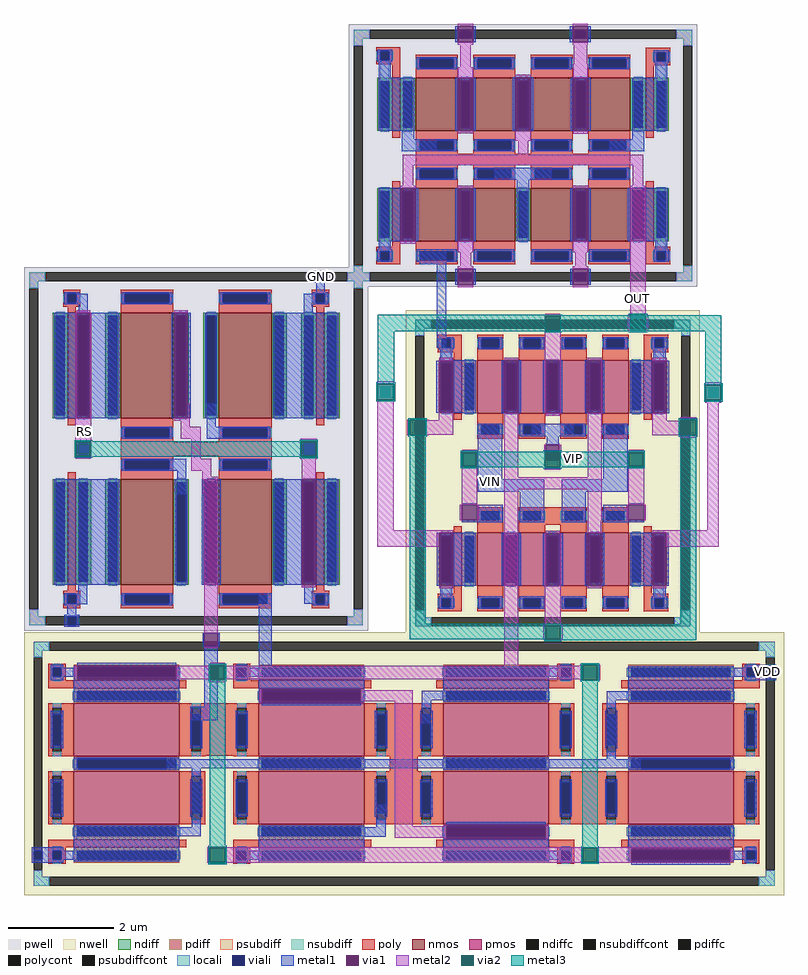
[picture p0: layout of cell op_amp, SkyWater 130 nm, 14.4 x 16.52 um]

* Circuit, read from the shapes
.subckt op_amp OUT VIN VIP VDD RS GND
XM1 GND GND GND GND sky130_fd_pr__nfet_01v8 w=2 l=0.15 m=2
XM2 RS RS RS GND sky130_fd_pr__nfet_01v8 w=2 l=0.15 m=2
XM3 pmos_cs_0/D1 pmos_cs_0/D1 GND GND sky130_fd_pr__nfet_01v8 w=2 l=1 m=2
XM4 pmos_cs_0/D2 pmos_cs_0/D1 RS GND sky130_fd_pr__nfet_01v8 w=2 l=1 m=2
XM5 OUT OUT OUT GND sky130_fd_pr__nfet_01v8 w=1 l=0.15 m=2
XM6 pmos_diff_amp_0/D6 pmos_diff_amp_0/D6 pmos_diff_amp_0/D6 GND sky130_fd_pr__nfet_01v8 w=1 l=0.15 m=2
XM7 GND pmos_diff_amp_0/D6 OUT GND sky130_fd_pr__nfet_01v8 w=1 l=0.8 m=4
XM8 GND pmos_diff_amp_0/D6 pmos_diff_amp_0/D6 GND sky130_fd_pr__nfet_01v8 w=1 l=0.8 m=4
XM9 VDD VDD VDD VDD sky130_fd_pr__pfet_01v8 w=2 l=0.15 m=2
XM10 VDD VDD VDD VDD sky130_fd_pr__pfet_01v8 w=2 l=1 m=2
XM11 pmos_cs_0/D5 pmos_cs_0/D2 VDD VDD sky130_fd_pr__pfet_01v8 w=2 l=1 m=2
XM12 pmos_cs_0/D5 pmos_cs_0/D5 pmos_cs_0/D5 VDD sky130_fd_pr__pfet_01v8 w=2 l=0.15 m=2
XM13 pmos_cs_0/D2 pmos_cs_0/D2 pmos_cs_0/D2 VDD sky130_fd_pr__pfet_01v8 w=2 l=0.15 m=2
XM14 VDD pmos_cs_0/D2 pmos_cs_0/D2 VDD sky130_fd_pr__pfet_01v8 w=2 l=1 m=2
XM15 pmos_cs_0/D1 pmos_cs_0/D2 VDD VDD sky130_fd_pr__pfet_01v8 w=2 l=1 m=2
XM16 pmos_cs_0/D1 pmos_cs_0/D1 pmos_cs_0/D1 VDD sky130_fd_pr__pfet_01v8 w=2 l=0.15 m=2
XM17 OUT OUT OUT VDD sky130_fd_pr__pfet_01v8 w=1 l=0.15 m=2
XM18 pmos_diff_amp_0/D6 pmos_diff_amp_0/D6 pmos_diff_amp_0/D6 VDD sky130_fd_pr__pfet_01v8 w=1 l=0.15 m=2
XM19 pmos_cs_0/D5 VIP OUT VDD sky130_fd_pr__pfet_01v8 w=1 l=0.5 m=4
XM20 pmos_cs_0/D5 VIN pmos_diff_amp_0/D6 VDD sky130_fd_pr__pfet_01v8 w=1 l=0.5 m=4
.ends

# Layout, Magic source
magic
tech sky130A
magscale 1 2
<< metal1 >>
rect 1500 2443 1592 2448
rect 1500 2392 1600 2443
rect 1104 2338 1146 2356
rect 1565 2075 1600 2392
rect 1734 1538 1792 1600
rect 677 942 683 994
rect 735 942 741 994
rect 683 716 735 942
rect 889 819 938 1145
rect 2794 826 2840 868
rect 630 664 735 716
<< via1 >>
rect 683 942 735 994
<< metal2 >>
rect 2298 2200 2356 2680
rect 2288 2140 2297 2200
rect 2357 2140 2366 2200
rect 208 1746 244 1780
rect 683 994 735 1577
rect 683 936 735 942
rect 1820 826 1872 1374
<< via2 >>
rect 2297 2140 2357 2200
<< metal3 >>
rect 2292 2200 2362 2205
rect 2292 2140 2297 2200
rect 2357 2140 2362 2200
rect 2292 2135 2362 2140
rect 2058 1638 2110 1668
use nmos_cs  nmos_cs_0
transform 1 0 308 0 -1 1665
box -308 -716 996 661
use nmos_diff_amp  nmos_diff_amp_0
transform 1 0 1426 0 1 2810
box -196 -506 1126 494
use pmos_cs  pmos_cs_0
transform 0 1 1489 1 0 176
box -176 -1489 822 1391
use pmos_diff_amp  pmos_diff_amp_0
transform 1 0 1623 0 1 1728
box -289 -764 1024 489
<< labels >>
flabel metal2 2326 2262 2326 2262 0 FreeSans 800 0 0 0 OUT
port 0 nsew
flabel metal1 1768 1568 1768 1568 0 FreeSans 800 0 0 0 VIN
port 1 nsew
flabel metal3 2082 1654 2082 1654 0 FreeSans 800 0 0 0 VIP
port 2 nsew
flabel metal1 2818 848 2818 848 0 FreeSans 800 0 0 0 VDD
port 3 nsew
flabel metal2 228 1758 228 1758 0 FreeSans 800 0 0 0 RS
port 4 nsew
flabel metal1 1126 2346 1126 2346 0 FreeSans 800 0 0 0 GND
port 5 nsew
<< end >>

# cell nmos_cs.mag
magic
tech sky130A
magscale 1 2
<< pwell >>
rect -308 -716 996 661
<< psubdiff >>
rect -288 607 -228 641
rect 916 607 976 641
rect -288 581 -254 607
rect 942 581 976 607
rect -288 -662 -254 -636
rect 942 -662 976 -636
rect -288 -696 -228 -662
rect 916 -696 976 -662
<< psubdiffcont >>
rect -228 607 916 641
rect -288 -636 -254 581
rect 942 -636 976 581
rect -228 -696 916 -662
<< poly >>
rect 58 -55 630 0
<< locali >>
rect -288 607 -228 641
rect 916 607 976 641
rect -288 581 -254 607
rect -288 -662 -254 -636
rect 942 581 976 607
rect 942 -662 976 -636
rect -288 -696 -228 -662
rect 916 -696 976 -662
<< viali >>
rect -144 607 -110 641
rect 799 -696 833 -662
<< metal1 >>
rect -156 641 -98 647
rect -156 607 -144 641
rect -110 607 -98 641
rect -156 601 -98 607
rect -144 560 -110 601
rect -102 488 -68 561
rect 754 488 788 560
rect -194 88 52 488
rect 272 56 306 144
rect 365 88 375 488
rect 427 88 437 488
rect 636 88 745 488
rect 797 88 882 488
rect 244 10 306 56
rect 384 -111 446 -65
rect -194 -543 -109 -143
rect -57 -543 52 -143
rect 251 -543 261 -143
rect 313 -543 323 -143
rect 384 -198 418 -111
rect 636 -543 882 -143
rect -100 -616 -66 -543
rect 753 -616 787 -543
rect 799 -656 832 -615
rect 787 -662 845 -656
rect 787 -696 799 -662
rect 833 -696 845 -662
rect 787 -702 845 -696
<< via1 >>
rect 375 88 427 488
rect 745 88 797 488
rect -109 -543 -57 -143
rect 261 -543 313 -143
<< metal2 >>
rect 375 488 427 498
rect 367 88 375 144
rect 367 78 427 88
rect 745 488 797 498
rect 367 56 401 78
rect 325 10 401 56
rect 745 12 797 88
rect -111 3 -55 10
rect -113 1 -53 3
rect -113 -55 -111 1
rect -55 -55 -53 1
rect -113 -143 -53 -55
rect 325 -65 362 10
rect 286 -111 362 -65
rect 741 3 801 12
rect 741 -66 801 -57
rect 286 -133 320 -111
rect -113 -543 -109 -143
rect -57 -543 -53 -143
rect 261 -143 320 -133
rect 313 -198 320 -143
rect -109 -553 -57 -543
rect 261 -553 313 -543
<< via2 >>
rect -111 -55 -55 1
rect 741 -57 801 3
<< metal3 >>
rect -116 3 -50 6
rect 736 3 806 8
rect -116 1 741 3
rect -116 -55 -111 1
rect -55 -55 741 1
rect -116 -57 741 -55
rect 801 -57 806 3
rect -116 -60 -50 -57
rect 736 -62 806 -57
use sky130_fd_pr__nfet_01v8_Q6XT6P  sky130_fd_pr__nfet_01v8_Q6XT6P_0
transform 1 0 344 0 1 -343
box -344 -288 344 288
use sky130_fd_pr__nfet_01v8_Q6XT6P  sky130_fd_pr__nfet_01v8_Q6XT6P_1
transform 1 0 344 0 1 288
box -344 -288 344 288
use sky130_fd_pr__nfet_01v8_SCJFGL  sky130_fd_pr__nfet_01v8_SCJFGL_0
transform 1 0 -127 0 1 -374
box -73 -257 73 257
use sky130_fd_pr__nfet_01v8_SCJFGL  sky130_fd_pr__nfet_01v8_SCJFGL_1
transform 1 0 815 0 1 -374
box -73 -257 73 257
use sky130_fd_pr__nfet_01v8_TCR5KT  sky130_fd_pr__nfet_01v8_TCR5KT_0
transform 1 0 -127 0 1 319
box -73 -257 73 257
use sky130_fd_pr__nfet_01v8_TCR5KT  sky130_fd_pr__nfet_01v8_TCR5KT_1
transform 1 0 815 0 1 319
box -73 -257 73 257
<< labels >>
flabel metal1 -30 318 -30 318 0 FreeSans 160 0 0 0 GND
port 0 nsew
flabel metal1 290 42 290 42 0 FreeSans 160 0 0 0 D3
port 1 nsew
flabel metal2 376 38 376 38 0 FreeSans 160 0 0 0 D4
port 2 nsew
flabel metal1 -34 -328 -34 -328 0 FreeSans 160 0 0 0 RS
port 3 nsew
<< end >>

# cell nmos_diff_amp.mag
magic
tech sky130A
magscale 1 2
<< pwell >>
rect -196 -503 1126 491
<< psubdiff >>
rect -176 436 -116 470
rect 1046 436 1106 470
rect -176 410 -142 436
rect 1072 410 1106 436
rect -176 -449 -142 -423
rect 1072 -449 1106 -423
rect -176 -483 -116 -449
rect 1046 -483 1106 -449
<< psubdiffcont >>
rect -116 436 1046 470
rect -176 -423 -142 410
rect 1072 -423 1106 410
rect -116 -483 1046 -449
<< poly >>
rect -92 389 0 405
rect -92 355 -76 389
rect -42 355 0 389
rect -92 339 0 355
rect -30 296 0 339
rect 930 386 1022 402
rect 930 352 972 386
rect 1006 352 1022 386
rect 930 336 1022 352
rect 930 302 960 336
rect 58 -42 872 1
rect -30 -352 0 -345
rect -92 -368 0 -352
rect -92 -402 -76 -368
rect -42 -402 0 -368
rect -92 -418 0 -402
rect 930 -352 960 -332
rect 930 -368 1022 -352
rect 930 -402 972 -368
rect 1006 -402 1022 -368
rect 930 -418 1022 -402
<< polycont >>
rect -76 355 -42 389
rect 972 352 1006 386
rect -76 -402 -42 -368
rect 972 -402 1006 -368
<< locali >>
rect -176 436 -116 470
rect 1046 436 1106 470
rect -176 410 -142 436
rect 1072 410 1106 436
rect -92 355 -76 389
rect -42 355 -26 389
rect -76 276 -42 355
rect 956 352 972 386
rect 1006 352 1022 386
rect 972 276 1006 352
rect -76 -368 -42 -318
rect 972 -368 1006 -318
rect -92 -402 -76 -368
rect -42 -402 -26 -368
rect 956 -402 972 -368
rect 1006 -402 1022 -368
rect -176 -449 -142 -423
rect 1072 -449 1106 -423
rect -176 -483 -116 -449
rect 1046 -483 1106 -449
<< viali >>
rect 230 436 264 470
rect 665 436 699 470
rect -76 355 -42 389
rect 972 352 1006 386
rect -76 -402 -42 -368
rect 972 -402 1006 -368
rect 230 -483 264 -449
rect 666 -483 700 -449
<< metal1 >>
rect 208 424 218 484
rect 276 424 286 484
rect 643 423 653 483
rect 711 423 721 483
rect -88 389 -30 395
rect -88 355 -76 389
rect -42 355 -30 389
rect -88 349 -30 355
rect 960 386 1018 392
rect 960 352 972 386
rect 1006 352 1018 386
rect -82 289 -36 349
rect 960 346 1018 352
rect -82 88 52 289
rect 208 88 218 289
rect 276 88 286 289
rect 426 88 436 290
rect 494 88 504 290
rect 6 56 52 88
rect 645 87 655 289
rect 711 87 721 289
rect 967 288 1012 346
rect 878 88 1012 288
rect 878 56 924 88
rect 6 10 138 56
rect 792 10 924 56
rect 356 -98 574 -52
rect -82 -130 53 -129
rect -82 -330 0 -130
rect 58 -330 68 -130
rect -82 -362 -36 -330
rect 208 -331 218 -130
rect 276 -331 286 -130
rect 442 -330 488 -98
rect 878 -130 1013 -129
rect 644 -331 654 -130
rect 712 -331 722 -130
rect 862 -330 872 -130
rect 930 -330 1013 -130
rect 966 -362 1012 -330
rect -88 -368 -30 -362
rect -88 -402 -76 -368
rect -42 -402 -30 -368
rect -88 -408 -30 -402
rect 960 -368 1018 -362
rect 960 -402 972 -368
rect 1006 -402 1018 -368
rect 960 -408 1018 -402
rect 208 -496 218 -436
rect 276 -496 286 -436
rect 644 -496 654 -436
rect 712 -496 722 -436
<< via1 >>
rect 218 470 276 484
rect 218 436 230 470
rect 230 436 264 470
rect 264 436 276 470
rect 218 424 276 436
rect 653 470 711 483
rect 653 436 665 470
rect 665 436 699 470
rect 699 436 711 470
rect 653 423 711 436
rect 218 88 276 289
rect 436 88 494 290
rect 655 87 711 289
rect 0 -330 58 -130
rect 218 -331 276 -130
rect 654 -331 712 -130
rect 872 -330 930 -130
rect 218 -449 276 -436
rect 218 -483 230 -449
rect 230 -483 264 -449
rect 264 -483 276 -449
rect 218 -496 276 -483
rect 654 -449 712 -436
rect 654 -483 666 -449
rect 666 -483 700 -449
rect 700 -483 712 -449
rect 654 -496 712 -483
<< metal2 >>
rect 218 484 276 494
rect 218 414 276 424
rect 653 483 711 493
rect 227 329 267 414
rect 653 413 711 423
rect 657 341 709 413
rect 218 289 276 329
rect 218 78 276 88
rect 436 290 494 300
rect 436 49 494 88
rect 655 289 711 341
rect 655 77 711 87
rect 446 -3 485 49
rect 10 -42 920 -3
rect 10 -120 49 -42
rect 881 -120 920 -42
rect 0 -130 58 -120
rect 0 -340 58 -330
rect 218 -130 276 -120
rect 218 -372 276 -331
rect 654 -130 712 -120
rect 227 -426 268 -372
rect 654 -373 712 -331
rect 872 -130 930 -120
rect 872 -340 930 -330
rect 662 -426 704 -373
rect 218 -436 276 -426
rect 218 -506 276 -496
rect 654 -436 712 -426
rect 654 -506 712 -496
use sky130_fd_pr__nfet_01v8_6H9P4D  sky130_fd_pr__nfet_01v8_6H9P4D_1
transform 1 0 -15 0 1 -230
box -73 -126 73 126
use sky130_fd_pr__nfet_01v8_6H9P4D  sky130_fd_pr__nfet_01v8_6H9P4D_2
transform 1 0 -15 0 1 188
box -73 -126 73 126
use sky130_fd_pr__nfet_01v8_6H9P4D  sky130_fd_pr__nfet_01v8_6H9P4D_3
transform 1 0 945 0 1 188
box -73 -126 73 126
use sky130_fd_pr__nfet_01v8_6H9P4D  sky130_fd_pr__nfet_01v8_6H9P4D_4
transform 1 0 945 0 1 -230
box -73 -126 73 126
use sky130_fd_pr__nfet_01v8_HRGC9X  sky130_fd_pr__nfet_01v8_HRGC9X_0
transform 1 0 465 0 1 -230
box -465 -188 465 188
use sky130_fd_pr__nfet_01v8_HRGC9X  sky130_fd_pr__nfet_01v8_HRGC9X_1
transform 1 0 465 0 1 188
box -465 -188 465 188
<< labels >>
flabel metal1 29 35 29 35 0 FreeSans 160 0 0 0 D8
port 0 nsew
flabel psubdiffcont -53 -467 -53 -467 0 FreeSans 160 0 0 0 GND
port 1 nsew
flabel metal2 31 -78 31 -78 0 FreeSans 160 0 0 0 OUT
port 2 nsew
<< end >>

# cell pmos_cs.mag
magic
tech sky130A
magscale 1 2
<< nwell >>
rect -176 53 822 1391
rect -176 19 306 53
rect 599 19 822 53
rect -176 -1489 822 19
<< nsubdiff >>
rect -140 1321 -80 1355
rect 726 1321 786 1355
rect -140 1295 -106 1321
rect 752 1295 786 1321
rect -140 -1419 -106 -1393
rect 752 -1419 786 -1393
rect -140 -1453 -80 -1419
rect 726 -1453 786 -1419
<< nsubdiffcont >>
rect -80 1321 726 1355
rect -140 -1393 -106 1295
rect 752 -1393 786 1295
rect -80 -1453 726 -1419
<< poly >>
rect -56 1282 36 1298
rect -56 1248 -40 1282
rect -6 1248 36 1282
rect -56 1232 36 1248
rect 6 1211 36 1232
rect 610 1283 702 1299
rect 610 1249 652 1283
rect 686 1249 702 1283
rect 610 1233 702 1249
rect 610 1212 640 1233
rect 94 597 294 703
rect -56 581 36 597
rect -56 547 -40 581
rect -6 547 36 581
rect -56 531 36 547
rect 6 510 36 531
rect 610 581 702 597
rect 610 547 652 581
rect 686 547 702 581
rect 610 531 702 547
rect 610 510 640 531
rect 94 -103 552 3
rect 6 -631 36 -610
rect -56 -647 36 -631
rect -56 -681 -40 -647
rect -6 -681 36 -647
rect -56 -697 36 -681
rect 610 -631 640 -610
rect 610 -647 702 -631
rect 610 -681 652 -647
rect 686 -681 702 -647
rect 610 -697 702 -681
rect 353 -803 553 -697
rect 6 -1331 36 -1310
rect -56 -1347 36 -1331
rect -56 -1381 -40 -1347
rect -6 -1381 36 -1347
rect -56 -1397 36 -1381
rect 610 -1331 640 -1310
rect 610 -1347 702 -1331
rect 610 -1381 652 -1347
rect 686 -1381 702 -1347
rect 610 -1397 702 -1381
<< polycont >>
rect -40 1248 -6 1282
rect 652 1249 686 1283
rect -40 547 -6 581
rect 652 547 686 581
rect -40 -681 -6 -647
rect 652 -681 686 -647
rect -40 -1381 -6 -1347
rect 652 -1381 686 -1347
<< locali >>
rect -140 1321 -80 1355
rect 726 1321 786 1355
rect -140 1295 -106 1321
rect 752 1295 786 1321
rect -56 1248 -40 1282
rect -6 1248 10 1282
rect 636 1249 652 1283
rect 686 1249 702 1283
rect -56 547 -40 581
rect -6 547 10 581
rect 636 547 652 581
rect 686 547 702 581
rect -56 -681 -40 -647
rect -6 -681 10 -647
rect 636 -681 652 -647
rect 686 -681 702 -647
rect -56 -1381 -40 -1347
rect -6 -1381 10 -1347
rect 636 -1381 652 -1347
rect 686 -1381 702 -1347
rect -140 -1419 -106 -1393
rect 752 -1419 786 -1393
rect -140 -1453 -80 -1419
rect 726 -1453 786 -1419
<< viali >>
rect 652 1321 686 1355
rect -40 1248 -6 1282
rect 652 1249 686 1283
rect -40 547 -6 581
rect 652 547 686 581
rect -40 -681 -6 -647
rect 652 -681 686 -647
rect -40 -1381 -6 -1347
rect 652 -1381 686 -1347
rect -40 -1453 -6 -1419
<< metal1 >>
rect 640 1355 698 1361
rect 640 1321 652 1355
rect 686 1321 698 1355
rect -52 1282 6 1288
rect -52 1248 -40 1282
rect -6 1248 6 1282
rect -52 1242 6 1248
rect 640 1283 698 1321
rect 640 1249 652 1283
rect 686 1249 698 1283
rect 640 1243 698 1249
rect -40 1200 -6 1242
rect 652 1200 686 1243
rect -46 1188 88 1200
rect -59 812 -49 1188
rect 3 812 88 1188
rect -46 800 88 812
rect 306 754 340 848
rect 558 800 692 1200
rect 563 754 598 800
rect 306 719 598 754
rect -52 581 6 587
rect -52 547 -40 581
rect -6 547 6 581
rect -52 541 6 547
rect -40 500 -6 541
rect -46 488 88 500
rect -46 112 39 488
rect 91 112 101 488
rect -46 100 88 112
rect 47 -154 168 -119
rect 47 -200 82 -154
rect -45 -600 89 -200
rect -40 -641 -6 -600
rect -52 -647 6 -641
rect -52 -681 -40 -647
rect -6 -681 6 -647
rect -52 -687 6 -681
rect 306 -819 340 719
rect 640 581 698 587
rect 640 547 652 581
rect 686 547 698 581
rect 640 541 698 547
rect 652 500 686 541
rect 558 100 692 500
rect 564 54 599 100
rect 477 19 599 54
rect 558 -212 692 -200
rect 545 -588 555 -212
rect 607 -588 692 -212
rect 558 -600 692 -588
rect 652 -641 686 -600
rect 640 -647 698 -641
rect 640 -681 652 -647
rect 686 -681 698 -647
rect 640 -687 698 -681
rect 48 -853 340 -819
rect 48 -900 82 -853
rect -46 -1300 88 -900
rect 306 -948 340 -853
rect 558 -912 692 -900
rect 558 -1288 643 -912
rect 695 -1288 705 -912
rect 558 -1300 692 -1288
rect -40 -1341 -6 -1300
rect 652 -1341 686 -1300
rect -52 -1347 6 -1341
rect -52 -1381 -40 -1347
rect -6 -1381 6 -1347
rect -52 -1419 6 -1381
rect 640 -1347 698 -1341
rect 640 -1381 652 -1347
rect 686 -1381 698 -1347
rect 640 -1387 698 -1381
rect -52 -1453 -40 -1419
rect -6 -1453 6 -1419
rect -52 -1459 6 -1453
<< via1 >>
rect -49 812 3 1188
rect 39 112 91 488
rect 555 -588 607 -212
rect 643 -1288 695 -912
<< metal2 >>
rect -49 1188 3 1198
rect -53 812 -49 1188
rect 3 812 7 1188
rect -53 684 7 812
rect -53 628 -51 684
rect 5 628 7 684
rect -53 -726 7 628
rect 639 686 699 695
rect 639 617 699 626
rect 39 488 91 498
rect 39 102 91 112
rect 43 -16 86 102
rect 43 -84 602 -16
rect 559 -202 602 -84
rect 555 -212 607 -202
rect 555 -598 607 -588
rect 643 -728 695 617
rect 632 -784 641 -728
rect 697 -784 706 -728
rect -53 -795 7 -786
rect 643 -912 695 -784
rect 643 -1298 695 -1288
<< via2 >>
rect -51 628 5 684
rect 639 626 699 686
rect -53 -786 7 -726
rect 641 -784 697 -728
<< metal3 >>
rect -56 686 10 689
rect 634 686 704 691
rect -56 684 639 686
rect -56 628 -51 684
rect 5 628 639 684
rect -56 626 639 628
rect 699 626 704 686
rect -56 623 10 626
rect 634 621 704 626
rect -58 -726 12 -721
rect 636 -726 702 -723
rect -58 -786 -53 -726
rect 7 -728 702 -726
rect 7 -784 641 -728
rect 697 -784 702 -728
rect 7 -786 702 -784
rect -58 -791 12 -786
rect 636 -789 702 -786
use sky130_fd_pr__pfet_01v8_2ZH9AN  sky130_fd_pr__pfet_01v8_2ZH9AN_0
transform 1 0 21 0 1 -1100
box -109 -262 109 262
use sky130_fd_pr__pfet_01v8_2ZH9AN  sky130_fd_pr__pfet_01v8_2ZH9AN_1
transform 1 0 21 0 1 1000
box -109 -262 109 262
use sky130_fd_pr__pfet_01v8_2ZH9AN  sky130_fd_pr__pfet_01v8_2ZH9AN_2
transform 1 0 625 0 1 1000
box -109 -262 109 262
use sky130_fd_pr__pfet_01v8_2ZH9AN  sky130_fd_pr__pfet_01v8_2ZH9AN_3
transform 1 0 625 0 1 300
box -109 -262 109 262
use sky130_fd_pr__pfet_01v8_2ZH9AN  sky130_fd_pr__pfet_01v8_2ZH9AN_4
transform 1 0 21 0 1 300
box -109 -262 109 262
use sky130_fd_pr__pfet_01v8_2ZH9AN  sky130_fd_pr__pfet_01v8_2ZH9AN_5
transform 1 0 21 0 1 -400
box -109 -262 109 262
use sky130_fd_pr__pfet_01v8_2ZH9AN  sky130_fd_pr__pfet_01v8_2ZH9AN_6
transform 1 0 625 0 1 -400
box -109 -262 109 262
use sky130_fd_pr__pfet_01v8_2ZH9AN  sky130_fd_pr__pfet_01v8_2ZH9AN_7
transform 1 0 625 0 1 -1100
box -109 -262 109 262
use sky130_fd_pr__pfet_01v8_SDE6B7  sky130_fd_pr__pfet_01v8_SDE6B7_0
transform 1 0 323 0 1 1000
box -323 -300 323 300
use sky130_fd_pr__pfet_01v8_SDE6B7  sky130_fd_pr__pfet_01v8_SDE6B7_1
transform 1 0 323 0 1 300
box -323 -300 323 300
use sky130_fd_pr__pfet_01v8_SDE6B7  sky130_fd_pr__pfet_01v8_SDE6B7_2
transform 1 0 323 0 1 -400
box -323 -300 323 300
use sky130_fd_pr__pfet_01v8_SDE6B7  sky130_fd_pr__pfet_01v8_SDE6B7_3
transform 1 0 323 0 1 -1100
box -323 -300 323 300
<< labels >>
flabel viali 668 1336 668 1336 0 FreeSans 160 0 0 0 VDD
port 0 nsew
flabel metal1 586 74 586 74 0 FreeSans 160 0 0 0 D2
port 1 nsew
flabel metal2 62 22 62 22 0 FreeSans 160 0 0 0 D1
port 2 nsew
flabel viali -22 1266 -22 1266 0 FreeSans 160 0 0 0 D5
port 3 nsew
<< end >>

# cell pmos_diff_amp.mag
magic
tech sky130A
magscale 1 2
<< nwell >>
rect -176 -743 938 489
<< nsubdiff >>
rect -140 419 -80 453
rect 842 419 902 453
rect -140 393 -106 419
rect 868 393 902 419
rect -140 -673 -106 -647
rect 868 -673 902 -647
rect -140 -707 -80 -673
rect 842 -707 902 -673
<< nsubdiffcont >>
rect -80 419 842 453
rect -140 -647 -106 393
rect 868 -647 902 393
rect -80 -707 842 -673
<< poly >>
rect -56 381 36 397
rect -56 347 -40 381
rect -6 347 36 381
rect -56 331 36 347
rect 6 300 36 331
rect 726 381 818 397
rect 726 347 768 381
rect 802 347 818 381
rect 726 331 818 347
rect 726 300 756 331
rect 352 -323 410 -257
rect 6 -585 36 -554
rect -56 -601 36 -585
rect -56 -635 -40 -601
rect -6 -635 36 -601
rect -56 -651 36 -635
rect 726 -585 756 -554
rect 726 -601 818 -585
rect 726 -635 768 -601
rect 802 -635 818 -601
rect 726 -651 818 -635
<< polycont >>
rect -40 347 -6 381
rect 768 347 802 381
rect -40 -635 -6 -601
rect 768 -635 802 -601
<< locali >>
rect -140 419 -80 453
rect 842 419 902 453
rect -140 393 -106 419
rect 868 393 902 419
rect -56 347 -40 381
rect -6 347 10 381
rect 752 347 768 381
rect 802 347 818 381
rect -40 288 -6 347
rect 768 288 802 347
rect -40 -601 -6 -542
rect 768 -601 802 -542
rect -56 -635 -40 -601
rect -6 -635 10 -601
rect 752 -635 768 -601
rect 802 -635 818 -601
rect -140 -673 -106 -647
rect 868 -673 902 -647
rect -140 -707 -80 -673
rect 842 -707 902 -673
<< viali >>
rect -40 347 -6 381
rect 768 347 802 381
rect -40 -635 -6 -601
rect 768 -635 802 -601
<< metal1 >>
rect -52 381 6 387
rect -52 347 -40 381
rect -6 347 6 381
rect -52 341 6 347
rect 756 381 814 387
rect 756 347 768 381
rect 802 347 814 381
rect 756 341 814 347
rect -46 301 0 341
rect -46 299 88 301
rect 762 300 808 341
rect -60 101 -50 299
rect 4 101 88 299
rect 187 100 197 300
rect 249 100 259 300
rect 345 100 355 300
rect 407 100 417 300
rect 503 100 513 300
rect 565 100 575 300
rect 674 299 808 300
rect 674 100 758 299
rect 812 100 822 299
rect 97 -150 190 60
rect 302 13 460 59
rect 357 -15 403 13
rect 354 -21 406 -15
rect 354 -79 406 -73
rect 572 -150 664 59
rect 97 -199 348 -150
rect 35 -247 95 -241
rect 95 -307 191 -247
rect 35 -313 191 -307
rect 256 -312 348 -199
rect 414 -199 664 -150
rect 414 -312 506 -199
rect 667 -247 727 -241
rect 572 -307 667 -247
rect 572 -313 727 -307
rect -59 -554 -49 -354
rect 3 -554 86 -354
rect 187 -554 197 -354
rect 249 -554 259 -354
rect 344 -554 354 -356
rect 408 -554 418 -356
rect 503 -554 513 -354
rect 565 -554 575 -354
rect 674 -554 759 -354
rect 811 -554 821 -354
rect -46 -595 0 -554
rect 762 -595 808 -554
rect -52 -601 6 -595
rect -52 -635 -40 -601
rect -6 -635 6 -601
rect -52 -641 6 -635
rect 756 -601 814 -595
rect 756 -635 768 -601
rect 802 -635 814 -601
rect 756 -641 814 -635
<< via1 >>
rect -50 101 4 299
rect 197 100 249 300
rect 355 100 407 300
rect 513 100 565 300
rect 758 100 812 299
rect 354 -73 406 -21
rect 35 -307 95 -247
rect 667 -307 727 -247
rect -49 -554 3 -354
rect 197 -554 249 -354
rect 354 -554 408 -356
rect 513 -554 565 -354
rect 759 -554 811 -354
<< metal2 >>
rect 353 470 409 477
rect 351 468 411 470
rect 351 412 353 468
rect 409 412 411 468
rect -50 299 4 309
rect -284 212 -221 221
rect -284 -344 -221 149
rect -51 101 -50 299
rect -170 15 -161 75
rect -101 72 -92 75
rect -51 72 4 101
rect -101 17 4 72
rect 197 300 249 310
rect 351 300 411 412
rect 351 100 355 300
rect 407 100 411 300
rect 513 300 565 310
rect 565 100 566 300
rect -101 15 -92 17
rect 37 -46 93 -39
rect 35 -48 95 -46
rect 35 -104 37 -48
rect 93 -104 95 -48
rect 35 -247 95 -104
rect 197 -143 249 100
rect 355 90 407 100
rect 348 -46 354 -21
rect 406 -46 412 -21
rect 348 -73 350 -46
rect 410 -73 412 -46
rect 350 -115 410 -106
rect 513 -143 566 100
rect 758 299 812 309
rect 959 208 1019 217
rect 959 139 1019 148
rect 758 70 812 100
rect 864 75 924 84
rect 758 16 864 70
rect 924 16 926 70
rect 864 6 924 15
rect 669 -46 725 -39
rect 197 -189 566 -143
rect 29 -307 35 -247
rect 95 -307 101 -247
rect -284 -354 3 -344
rect -284 -407 -49 -354
rect -49 -564 3 -554
rect 197 -354 249 -189
rect 513 -306 566 -189
rect 667 -48 727 -46
rect 667 -104 669 -48
rect 725 -104 727 -48
rect 667 -247 727 -104
rect 354 -355 408 -346
rect 513 -354 565 -306
rect 661 -307 667 -247
rect 727 -307 733 -247
rect 967 -344 1010 139
rect 197 -564 249 -554
rect 351 -356 411 -355
rect 351 -554 354 -356
rect 408 -554 411 -356
rect 351 -703 411 -554
rect 513 -564 565 -554
rect 759 -354 1010 -344
rect 811 -407 1010 -354
rect 759 -564 811 -554
rect 344 -759 353 -703
rect 409 -759 418 -703
rect 351 -761 411 -759
<< via2 >>
rect 353 412 409 468
rect -284 149 -221 212
rect -161 15 -101 75
rect 37 -104 93 -48
rect 350 -73 354 -46
rect 354 -73 406 -46
rect 406 -73 410 -46
rect 350 -106 410 -73
rect 959 148 1019 208
rect 864 15 924 75
rect 669 -104 725 -48
rect 353 -759 409 -703
<< metal3 >>
rect -283 470 416 473
rect -283 468 1019 470
rect -283 412 353 468
rect 409 412 1019 468
rect -283 410 1019 412
rect -283 217 -220 410
rect 348 407 414 410
rect -289 212 -216 217
rect 959 213 1019 410
rect -289 149 -284 212
rect -221 149 -216 212
rect -289 144 -216 149
rect 954 208 1024 213
rect 954 148 959 208
rect 1019 148 1024 208
rect 954 143 1024 148
rect -166 75 -96 80
rect -166 15 -161 75
rect -101 15 -96 75
rect -166 10 -96 15
rect 859 75 929 80
rect 859 15 864 75
rect 924 15 929 75
rect 859 10 929 15
rect -161 -698 -101 10
rect 32 -46 98 -43
rect 345 -46 415 -41
rect 664 -46 730 -43
rect 32 -48 350 -46
rect 32 -104 37 -48
rect 93 -104 350 -48
rect 32 -106 350 -104
rect 410 -48 730 -46
rect 410 -104 669 -48
rect 725 -104 730 -48
rect 410 -106 730 -104
rect 32 -109 98 -106
rect 345 -111 415 -106
rect 664 -109 730 -106
rect -161 -701 414 -698
rect 864 -701 924 10
rect -161 -703 924 -701
rect -161 -758 353 -703
rect 348 -759 353 -758
rect 409 -759 924 -703
rect 348 -761 924 -759
rect 348 -764 414 -761
use sky130_fd_pr__pfet_01v8_2XUZHN  sky130_fd_pr__pfet_01v8_2XUZHN_0
transform 1 0 741 0 1 200
box -109 -162 109 162
use sky130_fd_pr__pfet_01v8_2XUZHN  sky130_fd_pr__pfet_01v8_2XUZHN_1
transform 1 0 21 0 1 200
box -109 -162 109 162
use sky130_fd_pr__pfet_01v8_2XUZHN  sky130_fd_pr__pfet_01v8_2XUZHN_2
transform 1 0 21 0 1 -454
box -109 -162 109 162
use sky130_fd_pr__pfet_01v8_2XUZHN  sky130_fd_pr__pfet_01v8_2XUZHN_3
transform 1 0 741 0 1 -454
box -109 -162 109 162
use sky130_fd_pr__pfet_01v8_BH58Y6  sky130_fd_pr__pfet_01v8_BH58Y6_0
transform 1 0 381 0 1 -454
box -381 -200 381 200
use sky130_fd_pr__pfet_01v8_BH58Y6  sky130_fd_pr__pfet_01v8_BH58Y6_1
transform 1 0 381 0 1 200
box -381 -200 381 200
<< labels >>
flabel nsubdiffcont -121 279 -121 279 0 FreeSans 160 0 0 0 VDD
port 0 nsew
flabel metal1 145 -159 145 -159 0 FreeSans 160 0 0 0 VIN
port 1 nsew
flabel metal2 -29 47 -29 47 0 FreeSans 160 0 0 0 D6
port 2 nsew
flabel metal2 226 73 226 73 0 FreeSans 160 0 0 0 D5
port 3 nsew
flabel metal3 450 -78 450 -78 0 FreeSans 160 0 0 0 VIP
port 4 nsew
flabel metal2 -254 14 -254 14 0 FreeSans 160 0 0 0 OUT
port 5 nsew
<< end >>

# cell sky130_fd_pr__pfet_01v8_2XUZHN: kit device sky130_fd_pr__pfet_01v8, w 1 l 0.15 m 1 nf 1 diffcov 100 polycov 100 guard 0 glc 1 grc 1 gtc 1 gbc 1 tbcov 100 rlcov 100 topc 0 botc 0 poverlap 0 doverlap 1 lmin 0.15 wmin 0.42 compatible {sky130_fd_pr__pfet_01v8 sky130_fd_pr__pfet_01v8_lvt sky130_fd_pr__pfet_01v8_hvt sky130_fd_pr__pfet_g5v0d10v5} full_metal 1 viasrc 100 viadrn 100 viagate 100 viagb 0 viagr 0 viagl 0 viagt 0

# cell sky130_fd_pr__pfet_01v8_BH58Y6: kit device sky130_fd_pr__pfet_01v8, w 1 l 0.5 m 1 nf 4 diffcov 100 polycov 100 guard 0 glc 1 grc 1 gtc 1 gbc 1 tbcov 100 rlcov 100 topc 1 botc 1 poverlap 0 doverlap 1 lmin 0.15 wmin 0.42 compatible {sky130_fd_pr__pfet_01v8 sky130_fd_pr__pfet_01v8_lvt sky130_fd_pr__pfet_01v8_hvt sky130_fd_pr__pfet_g5v0d10v5} full_metal 1 viasrc 100 viadrn 100 viagate 100 viagb 0 viagr 0 viagl 0 viagt 0

# cell sky130_fd_pr__pfet_01v8_2ZH9AN: kit device sky130_fd_pr__pfet_01v8, w 2 l 0.15 m 1 nf 1 diffcov 100 polycov 100 guard 0 glc 1 grc 1 gtc 1 gbc 1 tbcov 100 rlcov 100 topc 0 botc 0 poverlap 0 doverlap 1 lmin 0.15 wmin 0.42 compatible {sky130_fd_pr__pfet_01v8 sky130_fd_pr__pfet_01v8_lvt sky130_fd_pr__pfet_01v8_hvt sky130_fd_pr__pfet_g5v0d10v5} full_metal 1 viasrc 100 viadrn 100 viagate 100 viagb 0 viagr 0 viagl 0 viagt 0

# cell sky130_fd_pr__pfet_01v8_SDE6B7: kit device sky130_fd_pr__pfet_01v8, w 2 l 1 m 1 nf 2 diffcov 100 polycov 100 guard 0 glc 1 grc 1 gtc 1 gbc 1 tbcov 100 rlcov 100 topc 1 botc 1 poverlap 0 doverlap 1 lmin 0.15 wmin 0.42 compatible {sky130_fd_pr__pfet_01v8 sky130_fd_pr__pfet_01v8_lvt sky130_fd_pr__pfet_01v8_hvt sky130_fd_pr__pfet_g5v0d10v5} full_metal 1 viasrc 100 viadrn 100 viagate 70 viagb 0 viagr 0 viagl 0 viagt 0

# cell sky130_fd_pr__nfet_01v8_6H9P4D: kit device sky130_fd_pr__nfet_01v8, w 1 l 0.150 m 1 nf 1 diffcov 100 polycov 100 guard 0 glc 1 grc 1 gtc 1 gbc 1 tbcov 100 rlcov 100 topc 0 botc 0 poverlap 0 doverlap 1 lmin 0.15 wmin 0.42 compatible {sky130_fd_pr__nfet_01v8 sky130_fd_pr__nfet_01v8_lvt sky130_fd_bs_flash__special_sonosfet_star sky130_fd_pr__nfet_g5v0d10v5 sky130_fd_pr__nfet_05v0_nvt sky130_fd_pr__nfet_03v3_nvt} full_metal 1 viasrc 100 viadrn 100 viagate 100 viagb 0 viagr 0 viagl 0 viagt 0

# cell sky130_fd_pr__nfet_01v8_HRGC9X: kit device sky130_fd_pr__nfet_01v8, w 1 l 0.8 m 1 nf 4 diffcov 100 polycov 100 guard 0 glc 1 grc 1 gtc 1 gbc 1 tbcov 100 rlcov 100 topc 1 botc 1 poverlap 0 doverlap 1 lmin 0.15 wmin 0.42 compatible {sky130_fd_pr__nfet_01v8 sky130_fd_pr__nfet_01v8_lvt sky130_fd_bs_flash__special_sonosfet_star sky130_fd_pr__nfet_g5v0d10v5 sky130_fd_pr__nfet_05v0_nvt sky130_fd_pr__nfet_03v3_nvt} full_metal 1 viasrc 100 viadrn 100 viagate 100 viagb 0 viagr 0 viagl 0 viagt 0

# cell sky130_fd_pr__nfet_01v8_Q6XT6P: kit device sky130_fd_pr__nfet_01v8, w 2 l 1 m 1 nf 2 diffcov 100 polycov 100 guard 0 glc 1 grc 1 gtc 1 gbc 1 tbcov 100 rlcov 100 topc 1 botc 1 poverlap 0 doverlap 0 lmin 0.15 wmin 0.42 compatible {sky130_fd_pr__nfet_01v8 sky130_fd_pr__nfet_01v8_lvt sky130_fd_bs_flash__special_sonosfet_star sky130_fd_pr__nfet_g5v0d10v5 sky130_fd_pr__nfet_05v0_nvt sky130_fd_pr__nfet_03v3_nvt} full_metal 1 viasrc 100 viadrn 100 viagate 100 viagb 0 viagr 0 viagl 0 viagt 0

# cell sky130_fd_pr__nfet_01v8_SCJFGL: kit device sky130_fd_pr__nfet_01v8, w 2 l 0.150 m 1 nf 1 diffcov 100 polycov 100 guard 0 glc 1 grc 1 gtc 1 gbc 1 tbcov 100 rlcov 100 topc 0 botc 1 poverlap 0 doverlap 1 lmin 0.15 wmin 0.42 compatible {sky130_fd_pr__nfet_01v8 sky130_fd_pr__nfet_01v8_lvt sky130_fd_bs_flash__special_sonosfet_star sky130_fd_pr__nfet_g5v0d10v5 sky130_fd_pr__nfet_05v0_nvt sky130_fd_pr__nfet_03v3_nvt} full_metal 1 viasrc 100 viadrn 100 viagate 100 viagb 0 viagr 0 viagl 0 viagt 0

# cell sky130_fd_pr__nfet_01v8_TCR5KT: kit device sky130_fd_pr__nfet_01v8, w 2 l 0.150 m 1 nf 1 diffcov 100 polycov 100 guard 0 glc 1 grc 1 gtc 1 gbc 1 tbcov 100 rlcov 100 topc 1 botc 0 poverlap 0 doverlap 1 lmin 0.15 wmin 0.42 compatible {sky130_fd_pr__nfet_01v8 sky130_fd_pr__nfet_01v8_lvt sky130_fd_bs_flash__special_sonosfet_star sky130_fd_pr__nfet_g5v0d10v5 sky130_fd_pr__nfet_05v0_nvt sky130_fd_pr__nfet_03v3_nvt} full_metal 1 viasrc 100 viadrn 100 viagate 100 viagb 0 viagr 0 viagl 0 viagt 0
